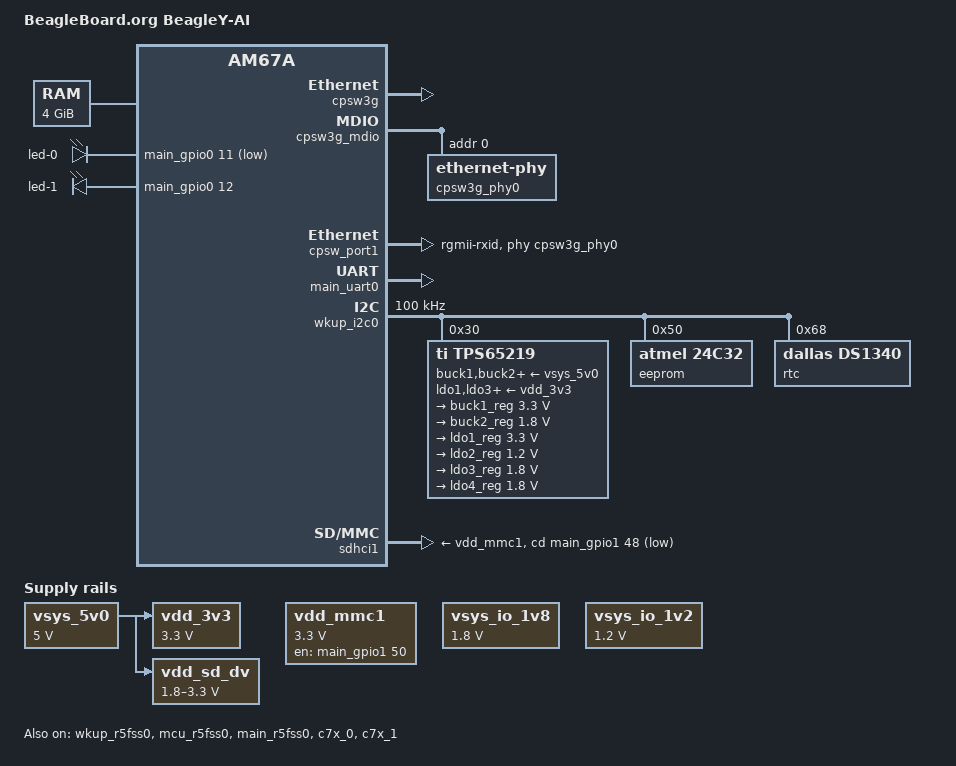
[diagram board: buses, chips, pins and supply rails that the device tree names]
// SPDX-License-Identifier: GPL-2.0-only OR MIT
/*
 * https://beagley-ai.org/
 *
 * Copyright (C) 2024 Texas Instruments Incorporated - https://www.ti.com/
 * Copyright (C) 2024 Robert Nelson, BeagleBoard.org Foundation
 */

/dts-v1/;

#include <dt-bindings/leds/common.h>
#include <dt-bindings/net/ti-dp83867.h>
#include "k3-j722s.dtsi"

/ {
	compatible = "beagle,am67a-beagley-ai", "ti,j722s";
	model = "BeagleBoard.org BeagleY-AI";

	aliases {
		serial0 = &wkup_uart0;
		serial2 = &main_uart0;
		mmc1 = &sdhci1;
		rtc0 = &rtc;
	};

	chosen {
		stdout-path = &main_uart0;
	};

	memory@80000000 {
		/* 4G RAM */
		reg = <0x00000000 0x80000000 0x00000000 0x80000000>,
		      <0x00000008 0x80000000 0x00000000 0x80000000>;
		device_type = "memory";
		bootph-pre-ram;
	};

	reserved_memory: reserved-memory {
		#address-cells = <2>;
		#size-cells = <2>;
		ranges;

		secure_tfa_ddr: tfa@9e780000 {
			reg = <0x00 0x9e780000 0x00 0x80000>;
			no-map;
		};

		secure_ddr: optee@9e800000 {
			reg = <0x00 0x9e800000 0x00 0x01800000>;
			no-map;
		};

		wkup_r5fss0_core0_dma_memory_region: r5f-dma-memory@a0000000 {
			compatible = "shared-dma-pool";
			reg = <0x00 0xa0000000 0x00 0x100000>;
			no-map;
		};

		wkup_r5fss0_core0_memory_region: r5f-memory@a0100000 {
			compatible = "shared-dma-pool";
			reg = <0x00 0xa0100000 0x00 0xf00000>;
			no-map;
		};

		mcu_r5fss0_core0_dma_memory_region: mcu-r5fss-dma-memory-region@a1000000 {
			compatible = "shared-dma-pool";
			reg = <0x00 0xa1000000 0x00 0x100000>;
			no-map;
		};

		mcu_r5fss0_core0_memory_region: mcu-r5fss-memory-region@a1100000 {
			compatible = "shared-dma-pool";
			reg = <0x00 0xa1100000 0x00 0xf00000>;
			no-map;
		};

		main_r5fss0_core0_dma_memory_region: main-r5fss-dma-memory-region@a2000000 {
			compatible = "shared-dma-pool";
			reg = <0x00 0xa2000000 0x00 0x100000>;
			no-map;
		};

		main_r5fss0_core0_memory_region: main-r5fss-memory-region@a2100000 {
			compatible = "shared-dma-pool";
			reg = <0x00 0xa2100000 0x00 0xf00000>;
			no-map;
		};

		c7x_0_dma_memory_region: c7x-dma-memory@a3000000 {
			compatible = "shared-dma-pool";
			reg = <0x00 0xa3000000 0x00 0x100000>;
			no-map;
		};

		c7x_0_memory_region: c7x-memory@a3100000 {
			compatible = "shared-dma-pool";
			reg = <0x00 0xa3100000 0x00 0xf00000>;
			no-map;
		};

		c7x_1_dma_memory_region: c7x-dma-memory@a4000000 {
			compatible = "shared-dma-pool";
			reg = <0x00 0xa4000000 0x00 0x100000>;
			no-map;
		};

		c7x_1_memory_region: c7x-memory@a4100000 {
			compatible = "shared-dma-pool";
			reg = <0x00 0xa4100000 0x00 0xf00000>;
			no-map;
		};

		rtos_ipc_memory_region: ipc-memories@a5000000 {
			reg = <0x00 0xa5000000 0x00 0x1c00000>;
			alignment = <0x1000>;
			no-map;
		};
	};

	vsys_5v0: regulator-1 {
		compatible = "regulator-fixed";
		regulator-name = "vsys_5v0";
		regulator-min-microvolt = <5000000>;
		regulator-max-microvolt = <5000000>;
		regulator-always-on;
		regulator-boot-on;
		bootph-all;
	};

	vdd_3v3: regulator-2 {
		compatible = "regulator-fixed";
		regulator-name = "vdd_3v3";
		regulator-min-microvolt = <3300000>;
		regulator-max-microvolt = <3300000>;
		vin-supply = <&vsys_5v0>;
		regulator-always-on;
		regulator-boot-on;
	};

	vdd_mmc1: regulator-3 {
		compatible = "regulator-fixed";
		regulator-name = "vdd_mmc1";
		pinctrl-names = "default";
		pinctrl-0 = <&vdd_3v3_sd_pins_default>;
		regulator-min-microvolt = <3300000>;
		regulator-max-microvolt = <3300000>;
		regulator-boot-on;
		enable-active-high;
		gpio = <&main_gpio1 50 GPIO_ACTIVE_HIGH>;
		bootph-all;
	};

	vdd_sd_dv: regulator-4 {
		compatible = "regulator-gpio";
		regulator-name = "tlv71033";
		pinctrl-names = "default";
		pinctrl-0 = <&vdd_sd_dv_pins_default>;
		regulator-min-microvolt = <1800000>;
		regulator-max-microvolt = <3300000>;
		regulator-boot-on;
		vin-supply = <&vsys_5v0>;
		gpios = <&main_gpio1 49 GPIO_ACTIVE_HIGH>;
		states = <1800000 0x0>,
			 <3300000 0x1>;
		bootph-all;
	};

	vsys_io_1v8: regulator-5 {
		compatible = "regulator-fixed";
		regulator-name = "vsys_io_1v8";
		regulator-min-microvolt = <1800000>;
		regulator-max-microvolt = <1800000>;
		regulator-always-on;
		regulator-boot-on;
	};

	vsys_io_1v2: regulator-6 {
		compatible = "regulator-fixed";
		regulator-name = "vsys_io_1v2";
		regulator-min-microvolt = <1200000>;
		regulator-max-microvolt = <1200000>;
		regulator-always-on;
		regulator-boot-on;
	};

	leds {
		compatible = "gpio-leds";
		pinctrl-names = "default";
		pinctrl-0 = <&led_pins_default>;

		led-0 {
			gpios = <&main_gpio0 11 GPIO_ACTIVE_LOW>;
			default-state = "off";
		};

		led-1 {
			gpios = <&main_gpio0 12 GPIO_ACTIVE_HIGH>;
			linux,default-trigger = "heartbeat";
			function = LED_FUNCTION_HEARTBEAT;
			default-state = "on";
		};
	};
};

&main_pmx0 {
	main_i2c0_pins_default: main-i2c0-default-pins {
		pinctrl-single,pins = <
			J722S_IOPAD(0x01e0, PIN_INPUT_PULLUP, 0) /* (D23) I2C0_SCL */
			J722S_IOPAD(0x01e4, PIN_INPUT_PULLUP, 0) /* (B22) I2C0_SDA */
		>;
		bootph-all;
	};

	main_uart0_pins_default: main-uart0-default-pins {
		pinctrl-single,pins = <
			J722S_IOPAD(0x01c8, PIN_INPUT, 0)	/* (A22) UART0_RXD */
			J722S_IOPAD(0x01cc, PIN_OUTPUT, 0)	/* (B22) UART0_TXD */
		>;
		bootph-all;
	};

	vdd_sd_dv_pins_default: vdd-sd-dv-default-pins {
		pinctrl-single,pins = <
			J722S_IOPAD(0x0244, PIN_OUTPUT, 7) /* (A24) MMC1_SDWP.GPIO1_49 */
		>;
		bootph-all;
	};

	main_mmc1_pins_default: main-mmc1-default-pins {
		pinctrl-single,pins = <
			J722S_IOPAD(0x023c, PIN_INPUT, 0) /* (H22) MMC1_CMD */
			J722S_IOPAD(0x0234, PIN_OUTPUT, 0) /* (H24) MMC1_CLK */
			J722S_IOPAD(0x0230, PIN_INPUT, 0) /* (H23) MMC1_DAT0 */
			J722S_IOPAD(0x022c, PIN_INPUT_PULLUP, 0) /* (H20) MMC1_DAT1 */
			J722S_IOPAD(0x0228, PIN_INPUT_PULLUP, 0) /* (J23) MMC1_DAT2 */
			J722S_IOPAD(0x0224, PIN_INPUT_PULLUP, 0) /* (H25) MMC1_DAT3 */
			J722S_IOPAD(0x0240, PIN_INPUT, 7) /* (B24) MMC1_SDCD.GPIO1_48 */
		>;
		bootph-all;
	};

	mdio_pins_default: mdio-default-pins {
		pinctrl-single,pins = <
			J722S_IOPAD(0x0160, PIN_OUTPUT, 0) /* (AC24) MDIO0_MDC */
			J722S_IOPAD(0x015c, PIN_INPUT, 0) /* (AD25) MDIO0_MDIO */
		>;
	};

	rgmii1_pins_default: rgmii1-default-pins {
		pinctrl-single,pins = <
			J722S_IOPAD(0x014c, PIN_INPUT, 0) /* (AC25) RGMII1_RD0 */
			J722S_IOPAD(0x0150, PIN_INPUT, 0) /* (AD27) RGMII1_RD1 */
			J722S_IOPAD(0x0154, PIN_INPUT, 0) /* (AE24) RGMII1_RD2 */
			J722S_IOPAD(0x0158, PIN_INPUT, 0) /* (AE26) RGMII1_RD3 */
			J722S_IOPAD(0x0148, PIN_INPUT, 0) /* (AE27) RGMII1_RXC */
			J722S_IOPAD(0x0144, PIN_INPUT, 0) /* (AD23) RGMII1_RX_CTL */
			J722S_IOPAD(0x0134, PIN_OUTPUT, 0) /* (AF27) RGMII1_TD0 */
			J722S_IOPAD(0x0138, PIN_OUTPUT, 0) /* (AE23) RGMII1_TD1 */
			J722S_IOPAD(0x013c, PIN_OUTPUT, 0) /* (AG25) RGMII1_TD2 */
			J722S_IOPAD(0x0140, PIN_OUTPUT, 0) /* (AF24) RGMII1_TD3 */
			J722S_IOPAD(0x0130, PIN_OUTPUT, 0) /* (AG26) RGMII1_TXC */
			J722S_IOPAD(0x012c, PIN_OUTPUT, 0) /* (AF25) RGMII1_TX_CTL */
		>;
	};

	led_pins_default: led-default-pins {
		pinctrl-single,pins = <
			J722S_IOPAD(0x002c, PIN_OUTPUT, 7) /* (K26) OSPI0_CSn0.GPIO0_11 */
			J722S_IOPAD(0x0030, PIN_OUTPUT, 7) /* (K23) OSPI0_CSn1.GPIO0_12 */
		>;
	};

	pmic_irq_pins_default: pmic-irq-default-pins {
		pinctrl-single,pins = <
			J722S_IOPAD(0x01f4, PIN_INPUT_PULLUP, 0) /* (B23) EXTINTn */
		>;
	};

	vdd_3v3_sd_pins_default: vdd-3v3-sd-default-pins {
		pinctrl-single,pins = <
			J722S_IOPAD(0x0254, PIN_OUTPUT, 7) /* (E25) USB0_DRVVBUS.GPIO1_50 */
		>;
	};
};

&cpsw3g {
	pinctrl-names = "default";
	pinctrl-0 = <&rgmii1_pins_default>;
	status = "okay";
};

&cpsw3g_mdio {
	pinctrl-names = "default";
	pinctrl-0 = <&mdio_pins_default>;
	status = "okay";

	cpsw3g_phy0: ethernet-phy@0 {
		reg = <0>;
		ti,rx-internal-delay = <DP83867_RGMIIDCTL_2_00_NS>;
		ti,fifo-depth = <DP83867_PHYCR_FIFO_DEPTH_4_B_NIB>;
		ti,min-output-impedance;
	};
};

&cpsw_port1 {
	phy-mode = "rgmii-rxid";
	phy-handle = <&cpsw3g_phy0>;
	status = "okay";
};

&main_gpio1 {
	status = "okay";
};

&main_uart0 {
	pinctrl-names = "default";
	pinctrl-0 = <&main_uart0_pins_default>;
	bootph-all;
	status = "okay";
};

&mcu_pmx0 {
	wkup_uart0_pins_default: wkup-uart0-default-pins {
		pinctrl-single,pins = <
			J722S_MCU_IOPAD(0x02c, PIN_INPUT, 0)	/* (C7) WKUP_UART0_CTSn */
			J722S_MCU_IOPAD(0x030, PIN_OUTPUT, 0)	/* (C6) WKUP_UART0_RTSn */
			J722S_MCU_IOPAD(0x024, PIN_INPUT, 0)	/* (D8) WKUP_UART0_RXD */
			J722S_MCU_IOPAD(0x028, PIN_OUTPUT, 0)	/* (D7) WKUP_UART0_TXD */
		>;
		bootph-all;
	};

	wkup_i2c0_pins_default: wkup-i2c0-default-pins {
		pinctrl-single,pins = <
			J722S_MCU_IOPAD(0x04c, PIN_INPUT_PULLUP, 0)	/* (C7) WKUP_I2C0_SCL */
			J722S_MCU_IOPAD(0x050, PIN_INPUT_PULLUP, 0)	/* (C6) WKUP_I2C1_SDA */
		>;
		bootph-all;
	};
};

&wkup_uart0 {
	/* WKUP UART0 is used by Device Manager firmware */
	pinctrl-names = "default";
	pinctrl-0 = <&wkup_uart0_pins_default>;
	bootph-all;
	status = "reserved";
};

&wkup_i2c0 {
	pinctrl-names = "default";
	pinctrl-0 = <&wkup_i2c0_pins_default>;
	clock-frequency = <100000>;
	bootph-all;
	status = "okay";

	tps65219: pmic@30 {
		compatible = "ti,tps65219";
		reg = <0x30>;
		buck1-supply = <&vsys_5v0>;
		buck2-supply = <&vsys_5v0>;
		buck3-supply = <&vsys_5v0>;
		ldo1-supply = <&vdd_3v3>;
		ldo3-supply = <&vdd_3v3>;
		ldo4-supply = <&vdd_3v3>;

		pinctrl-names = "default";
		pinctrl-0 = <&pmic_irq_pins_default>;
		interrupt-parent = <&gic500>;
		interrupts = <GIC_SPI 224 IRQ_TYPE_LEVEL_HIGH>;
		interrupt-controller;
		#interrupt-cells = <1>;

		bootph-all;
		system-power-controller;
		ti,power-button;

		regulators {
			buck1_reg: buck1 {
				regulator-name = "VDD_3V3";
				regulator-min-microvolt = <3300000>;
				regulator-max-microvolt = <3300000>;
				regulator-boot-on;
				regulator-always-on;
			};

			buck2_reg: buck2 {
				regulator-name = "VDD_1V8";
				regulator-min-microvolt = <1800000>;
				regulator-max-microvolt = <1800000>;
				regulator-boot-on;
				regulator-always-on;
			};

			ldo1_reg: ldo1 {
				regulator-name = "VDDSHV5_SDIO";
				regulator-min-microvolt = <3300000>;
				regulator-max-microvolt = <3300000>;
				regulator-allow-bypass;
				regulator-boot-on;
				regulator-always-on;
			};

			ldo2_reg: ldo2 {
				regulator-name = "VDD_1V2";
				regulator-min-microvolt = <1200000>;
				regulator-max-microvolt = <1200000>;
				regulator-boot-on;
				regulator-always-on;
			};

			ldo3_reg: ldo3 {
				regulator-name = "VDDA_PHY_1V8";
				regulator-min-microvolt = <1800000>;
				regulator-max-microvolt = <1800000>;
				regulator-boot-on;
				regulator-always-on;
			};

			ldo4_reg: ldo4 {
				regulator-name = "VDDA_PLL_1V8";
				regulator-min-microvolt = <1800000>;
				regulator-max-microvolt = <1800000>;
				regulator-boot-on;
				regulator-always-on;
			};
		};
	};

	eeprom@50 {
		compatible = "atmel,24c32";
		reg = <0x50>;
	};

	rtc: rtc@68 {
		compatible = "dallas,ds1340";
		reg = <0x68>;
	};
};

&sdhci1 {
	/* SD/MMC */
	vmmc-supply = <&vdd_mmc1>;
	vqmmc-supply = <&vdd_sd_dv>;
	pinctrl-names = "default";
	pinctrl-0 = <&main_mmc1_pins_default>;
	disable-wp;
	cd-gpios = <&main_gpio1 48 GPIO_ACTIVE_LOW>;
	cd-debounce-delay-ms = <100>;
	bootph-all;
	ti,fails-without-test-cd;
	status = "okay";
};

&mailbox0_cluster0 {
	status = "okay";

	mbox_wkup_r5_0: mbox-wkup-r5-0 {
		ti,mbox-rx = <0 0 0>;
		ti,mbox-tx = <1 0 0>;
	};
};

&mailbox0_cluster1 {
	status = "okay";

	mbox_mcu_r5_0: mbox-mcu-r5-0 {
		ti,mbox-rx = <0 0 0>;
		ti,mbox-tx = <1 0 0>;
	};
};

&mailbox0_cluster2 {
	status = "okay";

	mbox_c7x_0: mbox-c7x-0 {
		ti,mbox-rx = <0 0 0>;
		ti,mbox-tx = <1 0 0>;
	};
};

&mailbox0_cluster3 {
	status = "okay";

	mbox_main_r5_0: mbox-main-r5-0 {
		ti,mbox-rx = <0 0 0>;
		ti,mbox-tx = <1 0 0>;
	};

	mbox_c7x_1: mbox-c7x-1 {
		ti,mbox-rx = <2 0 0>;
		ti,mbox-tx = <3 0 0>;
	};
};

/* Timers are used by Remoteproc firmware */
&main_timer0 {
	status = "reserved";
};

&main_timer1 {
	status = "reserved";
};

&main_timer2 {
	status = "reserved";
};

&wkup_r5fss0 {
	status = "okay";
};

&wkup_r5fss0_core0 {
	mboxes = <&mailbox0_cluster0 &mbox_wkup_r5_0>;
	memory-region = <&wkup_r5fss0_core0_dma_memory_region>,
			<&wkup_r5fss0_core0_memory_region>;
};

&mcu_r5fss0 {
	status = "okay";
};

&mcu_r5fss0_core0 {
	mboxes = <&mailbox0_cluster1 &mbox_mcu_r5_0>;
	memory-region = <&mcu_r5fss0_core0_dma_memory_region>,
			<&mcu_r5fss0_core0_memory_region>;
};

&main_r5fss0 {
	status = "okay";
};

&main_r5fss0_core0 {
	mboxes = <&mailbox0_cluster3 &mbox_main_r5_0>;
	memory-region = <&main_r5fss0_core0_dma_memory_region>,
			<&main_r5fss0_core0_memory_region>;
};

&c7x_0 {
	mboxes = <&mailbox0_cluster2 &mbox_c7x_0>;
	memory-region = <&c7x_0_dma_memory_region>,
			<&c7x_0_memory_region>;
	status = "okay";
};

&c7x_1 {
	mboxes = <&mailbox0_cluster3 &mbox_c7x_1>;
	memory-region = <&c7x_1_dma_memory_region>,
			<&c7x_1_memory_region>;
	status = "okay";
};
